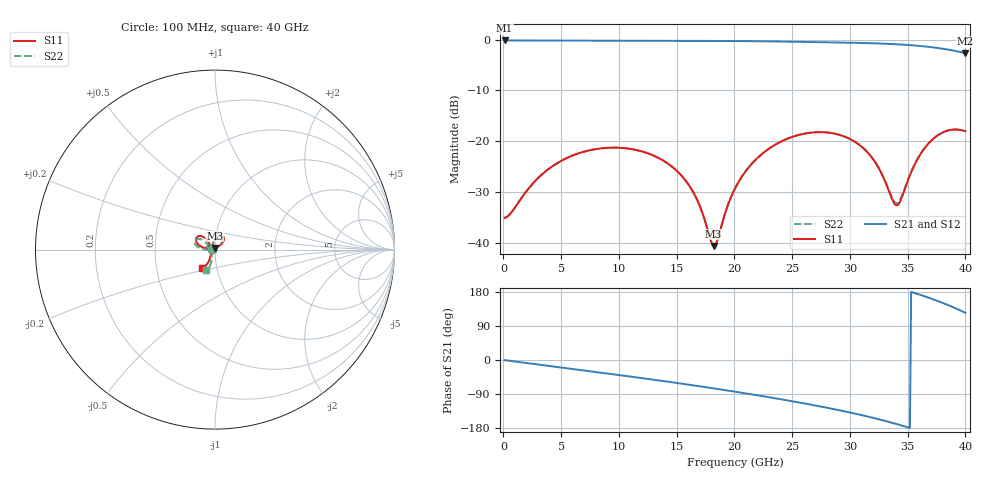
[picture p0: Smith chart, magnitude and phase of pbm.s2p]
! C_s8_ap1200: physics-based via model (prototype), ports at the via
# Hz S RI R 50
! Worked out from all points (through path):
!   400 points, 100 MHz to 40 GHz, reference 50 ohm
!   highest |S21| = -0.15 dB at 100 MHz (marker M1); lowest = -2.7 dB at 40 GHz (marker M2)
!   group delay of S21, straight-line fit = 14.9 ps
!   lowest |S11| = -40.7 dB at 18.2 GHz (marker M3), VSWR 1.02, Z = 49.8 + j0.902 ohm
!   |S11| at or under -10 dB: start of sweep to end of sweep
!   |S22| runs from -40.7 to -17.7 dB; largest |S21 - S12| = 0
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1e8  -0.0175 0.00151  0.9825 -0.00678  0.9825 -0.00678  -0.0175 0.0015
3.5e9  -0.00526 0.0485  0.9525 -0.2345  0.9525 -0.2345  -0.00626 0.0484
6.8e9  0.0211 0.0748  0.8721 -0.4421  0.8721 -0.4421  0.0181 0.0756
1.02e10  0.0454 0.0728  0.7416 -0.6332  0.7416 -0.6332  0.041 0.0754
1.34e10  0.0481 0.0489  0.5768 -0.7851  0.5768 -0.7851  0.0441 0.0525
1.62e10  0.0265 0.0226  0.399 -0.8882  0.399 -0.8882  0.0242 0.025
1.7e10  0.0162 0.0163  0.3426 -0.911  0.3426 -0.911  0.0145 0.0178
1.82e10  -0.00187 0.00905  0.2538 -0.9387  0.2538 -0.9387  -0.00282 0.00879
1.85e10  -0.0068 0.00776  0.2309 -0.9442  0.2309 -0.9442  -0.0076 0.00696
2.01e10  -0.0347 0.00509  0.1042 -0.964  0.1042 -0.964  -0.035 0.000918
2.13e10  -0.0557 0.00812  0.0053 -0.967  0.0053 -0.967  -0.0563 0.00102
2.29e10  -0.0808 0.0187  -0.1296 -0.9537  -0.1296 -0.9537  -0.0826 0.00758
2.67e10  -0.1055 0.0602  -0.4489 -0.8352  -0.4489 -0.8352  -0.1138 0.0427
2.89e10  -0.0893 0.0755  -0.6211 -0.704  -0.6211 -0.704  -0.1012 0.0589
3.08e10  -0.0616 0.0686  -0.7514 -0.5468  -0.7514 -0.5468  -0.0735 0.0559
3.22e10  -0.04 0.0469  -0.8277 -0.4015  -0.8277 -0.4015  -0.0489 0.0381
3.34e10  -0.0267 0.0172  -0.8719 -0.2566  -0.8719 -0.2566  -0.0305 0.0113
3.41e10  -0.023 -0.00372  -0.8855 -0.1641  -0.8855 -0.1641  -0.0229 -0.00849
3.57e10  -0.0299 -0.054  -0.8723 0.0638  -0.8723 0.0638  -0.0192 -0.0591
3.68e10  -0.0461 -0.0827  -0.8196 0.2256  -0.8196 0.2256  -0.0285 -0.0905
3.84e10  -0.0733 -0.103  -0.6669 0.4459  -0.6669 0.4459  -0.0495 -0.1164
4e10  -0.0751 -0.1004  -0.4154 0.6062  -0.4154 0.6062  -0.0504 -0.1147
